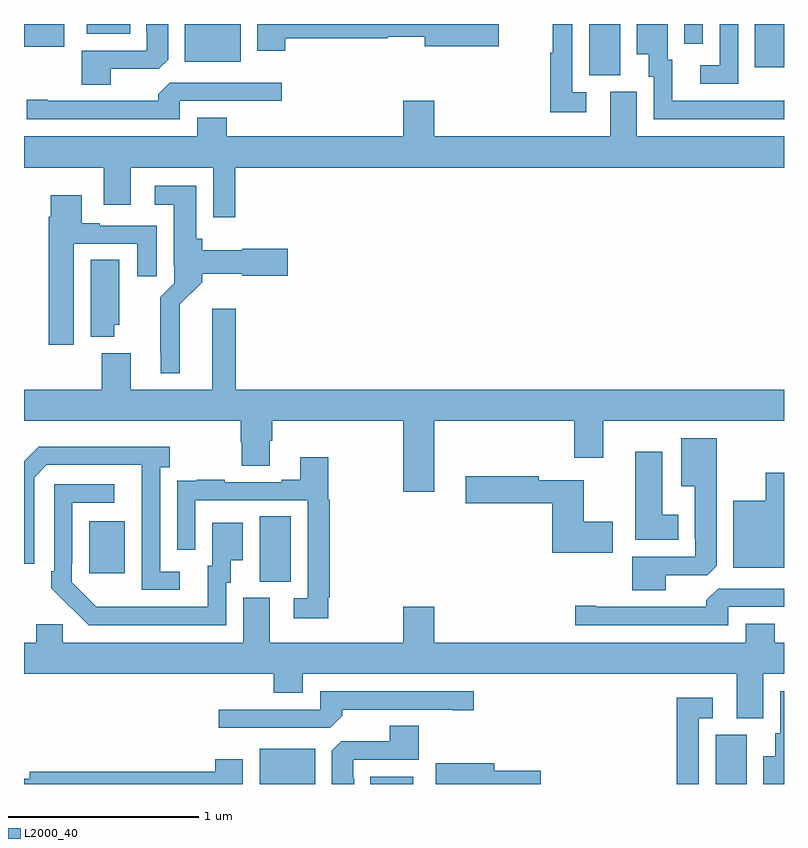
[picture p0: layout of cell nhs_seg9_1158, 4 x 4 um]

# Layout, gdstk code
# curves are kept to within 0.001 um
import gdstk
lib = gdstk.Library(unit=1e-6, precision=1e-09)
def R(c, l, rs):  # rectangles x0, y0, x1, y1
    for r in rs: c.add(gdstk.rectangle(r[:2], r[2:], *l))
def P(c, l, *ps):  # polygons
    for p in ps: c.add(gdstk.Polygon(p, *l))
L2000_40 = (2000, 40)

nhs_seg9_1158 = lib.new_cell('nhs_seg9_1158')
R(nhs_seg9_1158, L2000_40, [(176.24,1202.5,176.533,1202.686), (176.822,1202.5,177.049,1202.539), (178.64,1202.5,178.804,1202.76), (176.24,1203.565,176.404,1203.908), (175.343,1203.609,175.531,1203.883), (177.974,1206.229,178.138,1206.5), (178.847,1206.273,179,1206.5), (175.847,1206.302,176.14,1206.5), (175,1206.38,175.213,1206.5), (178.476,1206.396,178.572,1206.5), (175.331,1206.449,175.558,1206.5)])
P(nhs_seg9_1158, L2000_40, [(177.958,1206.141),(177.885,1206.141),(177.885,1206.5),(177.784,1206.5),(177.784,1206.348),(177.769,1206.348),(177.769,1206.036),(177.958,1206.036)],
  [(179,1206.098),(178.895,1206.096),(178.411,1206.096),(178.411,1206.312),(178.387,1206.312),(178.387,1206.5),(178.226,1206.5),(178.226,1206.341),(178.289,1206.341),(178.289,1206.222),(178.314,1206.222),(178.314,1206),(179,1206)],
  [(178.758,1206.5),(178.662,1206.5),(178.662,1206.282),(178.56,1206.282),(178.56,1206.186),(178.758,1206.186)],
  [(176.375,1206.424),(176.914,1206.424),(176.914,1206.432),(177.11,1206.432),(177.11,1206.382),(177.499,1206.382),(177.499,1206.5),(176.228,1206.5),(176.228,1206.36),(176.375,1206.36)],
  [(175.456,1206.264),(175.71,1206.264),(175.759,1206.313),(175.759,1206.5),(175.643,1206.5),(175.643,1206.457),(175.647,1206.457),(175.647,1206.36),(175.304,1206.36),(175.304,1206.181),(175.456,1206.181)],
  [(175.821,1206.096),(176.356,1206.096),(176.356,1206.192),(175.767,1206.192),(175.706,1206.13),(175.706,1206.096),(175.126,1206.096),(175.126,1206.101),(175.014,1206.101),(175.014,1206),(175.821,1206)],
  [(176.111,1205.744),(179,1205.744),(179,1205.908),(178.225,1205.908),(178.225,1206.144),(178.085,1206.144),(178.085,1205.908),(177.16,1205.908),(177.16,1206.097),(176.996,1206.097),(176.996,1205.908),(176.066,1205.908),(176.066,1206.007),(175.913,1206.007),(175.913,1205.908),(175,1205.908),(175,1205.744),(175.421,1205.744),(175.421,1205.55),(175.561,1205.55),(175.561,1205.744),(175.995,1205.744),(175.995,1205.484),(176.111,1205.484)],
  [(175.819,1205.024),(175.937,1205.142),(175.937,1205.186),(176.148,1205.186),(176.148,1205.174),(176.389,1205.174),(176.389,1205.316),(176.148,1205.316),(176.148,1205.308),(175.937,1205.308),(175.937,1205.37),(175.906,1205.37),(175.906,1205.65),(175.689,1205.65),(175.689,1205.549),(175.787,1205.549),(175.787,1205.23),(175.791,1205.23),(175.791,1205.136),(175.717,1205.062),(175.717,1204.771),(175.721,1204.771),(175.721,1204.661),(175.819,1204.661)],
  [(175.261,1205.343),(175.595,1205.343),(175.595,1205.172),(175.699,1205.172),(175.699,1205.439),(175.399,1205.439),(175.399,1205.452),(175.303,1205.452),(175.303,1205.599),(175.142,1205.599),(175.142,1205.486),(175.13,1205.486),(175.13,1204.812),(175.261,1204.812)],
  [(175.474,1204.917),(175.501,1204.917),(175.501,1205.258),(175.352,1205.258),(175.352,1204.853),(175.474,1204.853)],
  [(177.16,1204.412),(177.896,1204.412),(177.896,1204.218),(178.048,1204.218),(178.048,1204.412),(179,1204.412),(179,1204.576),(176.114,1204.576),(176.114,1205.002),(175.991,1205.002),(175.991,1204.576),(175.561,1204.576),(175.561,1204.768),(175.409,1204.768),(175.409,1204.576),(175,1204.576),(175,1204.412),(176.141,1204.412),(176.141,1204.299),(176.146,1204.299),(176.146,1204.174),(176.293,1204.174),(176.293,1204.306),(176.306,1204.306),(176.306,1204.412),(176.996,1204.412),(176.996,1204.038),(177.16,1204.038)],
  [(178.378,1203.6),(178.596,1203.6),(178.645,1203.649),(178.645,1204.321),(178.46,1204.321),(178.46,1204.067),(178.529,1204.067),(178.529,1203.793),(178.533,1203.793),(178.533,1203.696),(178.202,1203.696),(178.202,1203.521),(178.378,1203.521)],
  [(175.819,1203.618),(175.716,1203.618),(175.716,1204.166),(175.768,1204.166),(175.768,1204.276),(175.078,1204.276),(175,1204.198),(175,1203.66),(175.053,1203.66),(175.053,1204.113),(175.119,1204.179),(175.619,1204.179),(175.62,1203.522),(175.819,1203.522)],
  [(178.444,1203.916),(178.36,1203.916),(178.36,1204.249),(178.217,1204.249),(178.217,1203.785),(178.444,1203.785)],
  [(176.602,1203.484),(176.609,1203.484),(176.609,1203.996),(176.602,1203.996),(176.602,1204.219),(176.453,1204.219),(176.453,1204.102),(176.357,1204.102),(176.357,1204.089),(176.057,1204.089),(176.057,1204.102),(175.909,1204.102),(175.909,1204.095),(175.807,1204.095),(175.807,1203.986),(175.806,1203.986),(175.806,1203.732),(175.902,1203.732),(175.902,1203.993),(176.493,1203.993),(176.493,1203.477),(176.421,1203.477),(176.421,1203.372),(176.602,1203.372)],
  [(179,1204.138),(178.904,1204.138),(178.904,1203.991),(178.733,1203.991),(178.733,1203.638),(179,1203.638)],
  [(178.099,1203.879),(177.946,1203.879),(177.946,1204.099),(177.708,1204.099),(177.708,1204.119),(177.324,1204.119),(177.324,1203.977),(177.779,1203.977),(177.779,1203.716),(178.099,1203.716)],
  [(176.064,1203.558),(176.089,1203.558),(176.089,1203.677),(176.152,1203.677),(176.152,1203.874),(175.991,1203.874),(175.991,1203.648),(175.967,1203.648),(175.967,1203.432),(175.38,1203.433),(175.251,1203.561),(175.251,1203.661),(175.254,1203.661),(175.254,1203.981),(175.474,1203.981),(175.474,1204.077),(175.158,1204.077),(175.158,1203.619),(175.143,1203.619),(175.143,1203.531),(175.34,1203.336),(176.064,1203.336)],
  [(178.707,1203.432),(179,1203.432),(179,1203.528),(178.653,1203.528),(178.592,1203.466),(178.592,1203.432),(178.012,1203.432),(178.012,1203.437),(177.9,1203.437),(177.9,1203.336),(178.707,1203.336)],
  [(178.891,1203.08),(179,1203.08),(179,1203.244),(178.952,1203.244),(178.952,1203.343),(178.799,1203.343),(178.799,1203.244),(177.16,1203.244),(177.16,1203.433),(176.996,1203.433),(176.996,1203.244),(176.293,1203.244),(176.293,1203.48),(176.153,1203.48),(176.153,1203.244),(175.203,1203.244),(175.203,1203.342),(175.064,1203.342),(175.064,1203.244),(175,1203.244),(175,1203.08),(176.315,1203.08),(176.315,1202.981),(176.467,1202.981),(176.467,1203.08),(178.751,1203.08),(178.751,1202.845),(178.891,1202.845)],
  [(176.675,1202.858),(176.675,1202.892),(177.254,1202.892),(177.254,1202.887),(177.367,1202.887),(177.367,1202.988),(176.559,1202.988),(176.559,1202.892),(176.025,1202.892),(176.025,1202.796),(176.613,1202.796)],
  [(179,1202.988),(178.98,1202.988),(178.98,1202.766),(178.955,1202.766),(178.955,1202.647),(178.892,1202.647),(178.892,1202.5),(179,1202.5)],
  [(178.551,1202.847),(178.624,1202.847),(178.624,1202.953),(178.435,1202.953),(178.435,1202.5),(178.551,1202.5)],
  [(176.737,1202.531),(176.733,1202.531),(176.733,1202.628),(177.077,1202.628),(177.077,1202.807),(176.924,1202.807),(176.924,1202.724),(176.67,1202.724),(176.621,1202.675),(176.621,1202.5),(176.737,1202.5)],
  [(176.152,1202.629),(176.006,1202.629),(176.006,1202.564),(175.031,1202.564),(175.031,1202.528),(175,1202.528),(175,1202.5),(176.152,1202.5)],
  [(177.721,1202.57),(177.475,1202.57),(177.475,1202.608),(177.168,1202.608),(177.168,1202.5),(177.721,1202.5)])

lib.write_gds('nhs_seg9_1158.gds')
